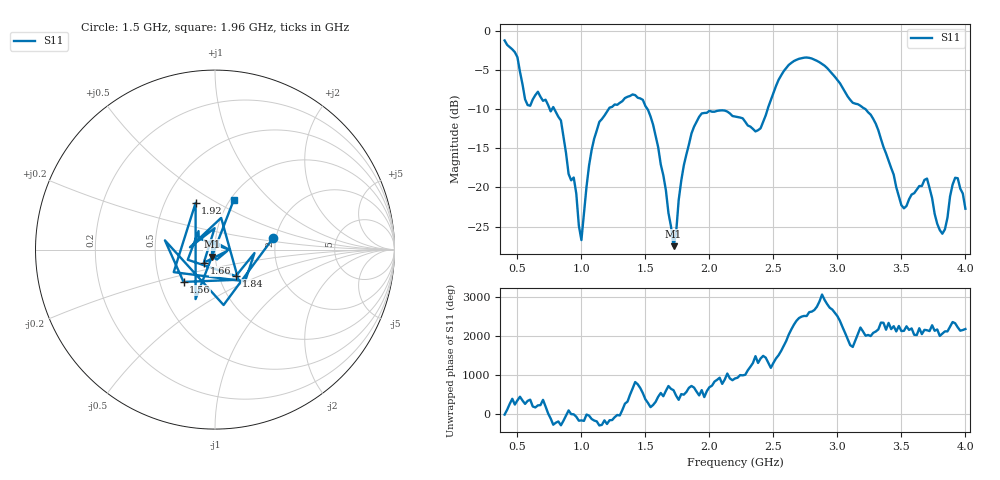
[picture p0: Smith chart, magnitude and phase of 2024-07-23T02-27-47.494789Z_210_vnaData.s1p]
!Created with skrf (http://scikit-rf.org).
# Hz S RI R 50.0
!freq ReS11 ImS11
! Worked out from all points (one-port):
!   181 points, 400 MHz to 4 GHz, reference 50 ohm
!   lowest |S11| = -27.5 dB at 1.72 GHz (marker M1), VSWR 1.09, Z = 48.2 - j3.72 ohm
!   |S11| at or under -10 dB: 787.9 MHz to 1.214 GHz (425.6 MHz wide, 42.5 % of centre); 1.516 GHz to 2.455 GHz (939.9 MHz wide, 47.3 % of centre); 3.217 GHz to end of sweep (the widest 3 of 4)
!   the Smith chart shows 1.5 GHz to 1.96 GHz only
!   S11 on the Smith chart (normalised r, x): 1.5 GHz: 1.93, +0.28; 1.56 GHz: 0.66, -0.25; 1.66 GHz: 0.87, -0.13; 1.84 GHz: 1.20, -0.37; 1.92 GHz: 0.71, +0.40; 1.96 GHz: 1.04, +0.64
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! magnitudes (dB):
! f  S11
! 400 MHz  -1.3
! 500 MHz  -3.4
! 580 MHz  -9.5
! 660 MHz  -7.8
! 860 MHz  -13.6
! 940 MHz  -18.7
! 1 GHz  -26.7
! 1.1 GHz  -13.8
! 1.3 GHz  -9.2
! 1.5 GHz  -9.6
! 1.56 GHz  -12.0
! 1.66 GHz  -20.4
! 1.72 GHz  -27.5
! 1.76 GHz  -21.6
! 1.84 GHz  -14.5
! 1.92 GHz  -11.0
! 1.96 GHz  -10.5
! 2.2 GHz  -11.0
! 2.4 GHz  -12.5
! 2.66 GHz  -3.9
! 3.1 GHz  -8.8
! 3.28 GHz  -11.3
! 3.5 GHz  -22.3
! 3.56 GHz  -21.5
! 3.7 GHz  -18.9
! 3.82 GHz  -25.9
! 3.92 GHz  -18.8
! 4 GHz  -22.7
